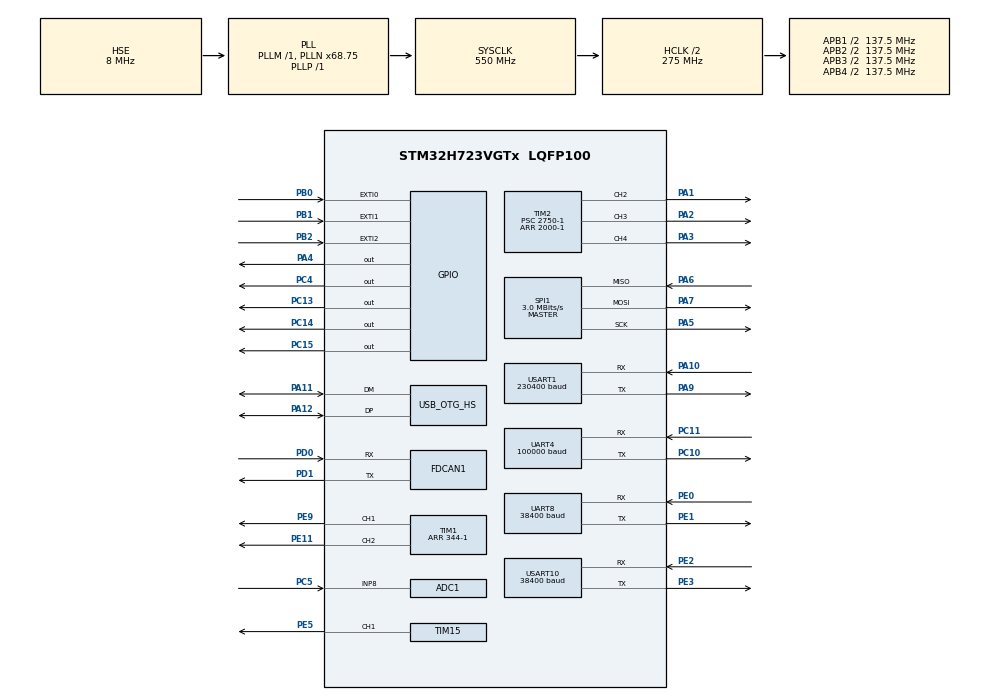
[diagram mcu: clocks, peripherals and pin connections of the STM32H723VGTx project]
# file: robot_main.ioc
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ADC1.Channel-1\#ChannelRegularConversion=ADC_CHANNEL_8
ADC1.ClockPrescaler=ADC_CLOCK_ASYNC_DIV8
ADC1.NbrOfConversion=1
ADC1.NbrOfConversionFlag=1
ADC1.OffsetNumber-1\#ChannelRegularConversion=ADC_OFFSET_NONE
ADC1.OffsetSignedSaturation-1\#ChannelRegularConversion=DISABLE
ADC1.Rank-1\#ChannelRegularConversion=1
ADC1.SamplingTime-1\#ChannelRegularConversion=ADC_SAMPLETIME_1CYCLE_5
ADC1.master=1
Dma.Request0=UART4_RX
Dma.Request1=USART1_RX
Dma.Request2=TIM1_CH1
Dma.Request3=TIM1_CH2
Dma.TIM1_CH1.2.Direction=DMA_MEMORY_TO_PERIPH
Dma.TIM1_CH1.2.EventEnable=DISABLE
Dma.TIM1_CH1.2.FIFOMode=DMA_FIFOMODE_DISABLE
Dma.TIM1_CH1.2.Instance=DMA1_Stream1
Dma.TIM1_CH1.2.MemDataAlignment=DMA_MDATAALIGN_HALFWORD
Dma.TIM1_CH1.2.MemInc=DMA_MINC_ENABLE
Dma.TIM1_CH1.2.Mode=DMA_NORMAL
Dma.TIM1_CH1.2.PeriphDataAlignment=DMA_PDATAALIGN_HALFWORD
Dma.TIM1_CH1.2.PeriphInc=DMA_PINC_DISABLE
Dma.TIM1_CH1.2.Polarity=HAL_DMAMUX_REQ_GEN_RISING
Dma.TIM1_CH1.2.Priority=DMA_PRIORITY_LOW
Dma.TIM1_CH1.2.RequestNumber=1
Dma.TIM1_CH1.2.SignalID=NONE
Dma.TIM1_CH1.2.SyncEnable=DISABLE
Dma.TIM1_CH1.2.SyncPolarity=HAL_DMAMUX_SYNC_NO_EVENT
Dma.TIM1_CH1.2.SyncRequestNumber=1
Dma.TIM1_CH1.2.SyncSignalID=NONE
Dma.TIM1_CH2.3.Direction=DMA_MEMORY_TO_PERIPH
Dma.TIM1_CH2.3.EventEnable=DISABLE
Dma.TIM1_CH2.3.FIFOMode=DMA_FIFOMODE_DISABLE
Dma.TIM1_CH2.3.Instance=DMA1_Stream2
Dma.TIM1_CH2.3.MemDataAlignment=DMA_MDATAALIGN_HALFWORD
Dma.TIM1_CH2.3.MemInc=DMA_MINC_ENABLE
Dma.TIM1_CH2.3.Mode=DMA_NORMAL
Dma.TIM1_CH2.3.PeriphDataAlignment=DMA_PDATAALIGN_HALFWORD
Dma.TIM1_CH2.3.PeriphInc=DMA_PINC_DISABLE
Dma.TIM1_CH2.3.Polarity=HAL_DMAMUX_REQ_GEN_RISING
Dma.TIM1_CH2.3.Priority=DMA_PRIORITY_LOW
Dma.TIM1_CH2.3.RequestNumber=1
Dma.TIM1_CH2.3.SignalID=NONE
Dma.TIM1_CH2.3.SyncEnable=DISABLE
Dma.TIM1_CH2.3.SyncPolarity=HAL_DMAMUX_SYNC_NO_EVENT
Dma.TIM1_CH2.3.SyncRequestNumber=1
Dma.TIM1_CH2.3.SyncSignalID=NONE
Dma.UART4_RX.0.Direction=DMA_PERIPH_TO_MEMORY
Dma.UART4_RX.0.EventEnable=DISABLE
Dma.UART4_RX.0.FIFOMode=DMA_FIFOMODE_DISABLE
Dma.UART4_RX.0.Instance=DMA1_Stream0
Dma.UART4_RX.0.MemDataAlignment=DMA_MDATAALIGN_BYTE
Dma.UART4_RX.0.MemInc=DMA_MINC_ENABLE
Dma.UART4_RX.0.Mode=DMA_NORMAL
Dma.UART4_RX.0.PeriphDataAlignment=DMA_PDATAALIGN_BYTE
Dma.UART4_RX.0.PeriphInc=DMA_PINC_DISABLE
Dma.UART4_RX.0.Polarity=HAL_DMAMUX_REQ_GEN_RISING
Dma.UART4_RX.0.Priority=DMA_PRIORITY_VERY_HIGH
Dma.UART4_RX.0.RequestNumber=1
Dma.UART4_RX.0.SignalID=NONE
Dma.UART4_RX.0.SyncEnable=DISABLE
Dma.UART4_RX.0.SyncPolarity=HAL_DMAMUX_SYNC_NO_EVENT
Dma.UART4_RX.0.SyncRequestNumber=1
Dma.UART4_RX.0.SyncSignalID=NONE
Dma.USART1_RX.1.Direction=DMA_PERIPH_TO_MEMORY
Dma.USART1_RX.1.EventEnable=DISABLE
Dma.USART1_RX.1.FIFOMode=DMA_FIFOMODE_DISABLE
Dma.USART1_RX.1.Instance=DMA2_Stream0
Dma.USART1_RX.1.MemDataAlignment=DMA_MDATAALIGN_BYTE
Dma.USART1_RX.1.MemInc=DMA_MINC_ENABLE
Dma.USART1_RX.1.Mode=DMA_NORMAL
Dma.USART1_RX.1.PeriphDataAlignment=DMA_PDATAALIGN_BYTE
Dma.USART1_RX.1.PeriphInc=DMA_PINC_DISABLE
Dma.USART1_RX.1.Polarity=HAL_DMAMUX_REQ_GEN_RISING
Dma.USART1_RX.1.Priority=DMA_PRIORITY_LOW
Dma.USART1_RX.1.RequestNumber=1
Dma.USART1_RX.1.SignalID=NONE
Dma.USART1_RX.1.SyncEnable=DISABLE
Dma.USART1_RX.1.SyncPolarity=HAL_DMAMUX_SYNC_NO_EVENT
Dma.USART1_RX.1.SyncRequestNumber=1
Dma.USART1_RX.1.SyncSignalID=NONE
FDCAN1.CalculateBaudRateNominal=999999
FDCAN1.CalculateTimeBitNominal=1000
FDCAN1.CalculateTimeQuantumNominal=9.090909090909092
FDCAN1.NominalPrescaler=1
FDCAN1.NominalTimeSeg1=68
FDCAN1.NominalTimeSeg2=41
FDCAN1.RxFifo0ElmtsNbr=32
FDCAN1.TxFifoQueueElmtsNbr=16
FREERTOS.Tasks01=defaultTask,24,256,StartDefaultTask,Default,NULL,Dynamic,NULL,NULL;myTask_imu,8,256,StartTask_imu,Default,NULL,Dynamic,NULL,NULL;myTask_Chassis,8,256,StartTask_Chassis,Default,NULL,Dynamic,NULL,NULL;myTask_LED,8,256,StartTask_LED,Default,NULL,Dynamic,NULL,NULL;myTask_observe,8,256,StartTask_observe,Default,NULL,Dynamic,NULL,NULL;myTask_vmc,8,256,StartTask_vmc,Default,NULL,Dynamic,NULL,NULL;myTask_adc,8,128,StartTask_adc,Default,NULL,Dynamic,NULL,NULL;myTask_motorErr,8,128,StartTask_motorError,Default,NULL,Dynamic,NULL,NULL;myTask_usb,8,128,StartTask_usb,Default,NULL,Dynamic,NULL,NULL
Mcu.Family=STM32H7
Mcu.Name=STM32H723VGTx
Mcu.Package=LQFP100
NVIC.DMA1_Stream0_IRQn=true\:5\:0\:false\:false\:true\:true\:false\:true\:true
NVIC.DMA1_Stream1_IRQn=true\:5\:0\:false\:false\:true\:true\:false\:true\:true
NVIC.DMA1_Stream2_IRQn=true\:5\:0\:false\:false\:true\:true\:false\:true\:true
NVIC.DMA2_Stream0_IRQn=true\:5\:0\:false\:false\:true\:true\:false\:true\:true
NVIC.EXTI0_IRQn=true\:5\:0\:false\:false\:true\:true\:true\:true\:true
NVIC.EXTI1_IRQn=true\:5\:0\:false\:false\:true\:true\:true\:true\:true
NVIC.EXTI2_IRQn=true\:5\:0\:false\:false\:true\:true\:true\:true\:true
NVIC.FDCAN1_IT0_IRQn=true\:5\:0\:false\:false\:true\:true\:true\:true\:true
NVIC.FDCAN1_IT1_IRQn=true\:5\:0\:false\:false\:true\:true\:true\:true\:true
NVIC.OTG_HS_IRQn=true\:5\:0\:false\:false\:true\:true\:false\:true\:true
NVIC.PriorityGroup=NVIC_PRIORITYGROUP_4
NVIC.TIM6_DAC_IRQn=true\:15\:0\:false\:false\:true\:false\:false\:true\:true
NVIC.TimeBase=TIM6_DAC_IRQn
NVIC.TimeBaseIP=TIM6
NVIC.UART4_IRQn=true\:5\:0\:false\:false\:true\:true\:true\:true\:true
NVIC.UART8_IRQn=true\:5\:0\:false\:false\:true\:true\:true\:true\:true
NVIC.USART10_IRQn=true\:5\:0\:false\:false\:true\:true\:true\:true\:true
NVIC.USART1_IRQn=true\:5\:0\:false\:false\:true\:true\:true\:true\:true
PA1.Signal=S_TIM2_CH2
PA10.Mode=Asynchronous
PA10.Signal=USART1_RX
PA11.Mode=Device_Only_FS
PA11.Signal=USB_OTG_HS_DM
PA12.Mode=Device_Only_FS
PA12.Signal=USB_OTG_HS_DP
PA13(JTMS/SWDIO).Mode=Serial_Wire
PA13(JTMS/SWDIO).Signal=DEBUG_JTMS-SWDIO
PA14(JTCK/SWCLK).Mode=Serial_Wire
PA14(JTCK/SWCLK).Signal=DEBUG_JTCK-SWCLK
PA2.Signal=S_TIM2_CH3
PA3.Signal=S_TIM2_CH4
PA4.Signal=GPIO_Output
PA5.Mode=Full_Duplex_Master
PA5.Signal=SPI1_SCK
PA6.Mode=Full_Duplex_Master
PA6.Signal=SPI1_MISO
PA7.Mode=Full_Duplex_Master
PA7.Signal=SPI1_MOSI
PA9.Mode=Asynchronous
PA9.Signal=USART1_TX
PB0.GPIO_ModeDefaultEXTI=GPIO_MODE_IT_FALLING
PB0.GPIO_PuPd=GPIO_PULLUP
PB0.Signal=GPXTI0
PB1.GPIO_ModeDefaultEXTI=GPIO_MODE_IT_FALLING
PB1.GPIO_PuPd=GPIO_PULLUP
PB1.Signal=GPXTI1
PB2.Signal=GPXTI2
PC10.Mode=Asynchronous
PC10.Signal=UART4_TX
PC11.Mode=Asynchronous
PC11.Signal=UART4_RX
PC13.Signal=GPIO_Output
PC14-OSC32_IN.Signal=GPIO_Output
PC15-OSC32_OUT.Signal=GPIO_Output
PC4.Signal=GPIO_Output
PC5.Signal=ADCx_INP8
PD0.Mode=FDCAN_Activate
PD0.Signal=FDCAN1_RX
PD1.Mode=FDCAN_Activate
PD1.Signal=FDCAN1_TX
PE0.Mode=Asynchronous
PE0.Signal=UART8_RX
PE1.Mode=Asynchronous
PE1.Signal=UART8_TX
PE11.Signal=S_TIM1_CH2
PE2.Mode=Asynchronous
PE2.Signal=USART10_RX
PE3.Mode=Asynchronous
PE3.Signal=USART10_TX
PE5.Signal=S_TIM15_CH1
PE9.Signal=S_TIM1_CH1
PH0-OSC_IN.Mode=HSE-External-Oscillator
PH0-OSC_IN.Signal=RCC_OSC_IN
PH1-OSC_OUT.Mode=HSE-External-Oscillator
PH1-OSC_OUT.Signal=RCC_OSC_OUT
ProjectManager.HeapSize=0x19000
ProjectManager.StackSize=0x19000
ProjectManager.TargetToolchain=MDK-ARM V5.32
RCC.ADCFreq_Value=96000000
RCC.APB1Freq_Value=137500000
RCC.APB2Freq_Value=137500000
RCC.APB3Freq_Value=137500000
RCC.APB4Freq_Value=137500000
RCC.CortexFreq_Value=550000000
RCC.D1PPRE=RCC_APB3_DIV2
RCC.D2PPRE1=RCC_APB1_DIV2
RCC.D2PPRE2=RCC_APB2_DIV2
RCC.D3PPRE=RCC_APB4_DIV2
RCC.DIVM1=1
RCC.DIVM2=1
RCC.DIVM3=1
RCC.DIVN1=68
RCC.DIVN2=24
RCC.DIVN3=24
RCC.DIVP1=1
RCC.DIVP3=1
RCC.DIVQ1=5
RCC.HCLKFreq_Value=275000000
RCC.HPRE=RCC_HCLK_DIV2
RCC.HSE_VALUE=8000000
RCC.PLL3FRACN=0
RCC.PLLFRACN=6144
RCC.PLLSourceVirtual=RCC_PLLSOURCE_HSE
RCC.SPI123CLockSelection=RCC_SPI123CLKSOURCE_PLL3
RCC.SYSCLKFreq_VALUE=550000000
RCC.SYSCLKSource=RCC_SYSCLKSOURCE_PLLCLK
RCC.USBCLockSelection=RCC_USBCLKSOURCE_HSI48
RCC.USBFreq_Value=48000000
SH.ADCx_INP8.0=ADC1_INP8,IN8-Single-Ended
SH.S_TIM15_CH1.0=TIM15_CH1,PWM Generation1 CH1
SH.S_TIM1_CH1.0=TIM1_CH1,PWM Generation1 CH1
SH.S_TIM1_CH2.0=TIM1_CH2,PWM Generation2 CH2
SH.S_TIM2_CH2.0=TIM2_CH2,PWM Generation2 CH2
SH.S_TIM2_CH3.0=TIM2_CH3,PWM Generation3 CH3
SH.S_TIM2_CH4.0=TIM2_CH4,PWM Generation4 CH4
SPI1.BaudRatePrescaler=SPI_BAUDRATEPRESCALER_64
SPI1.CLKPhase=SPI_PHASE_2EDGE
SPI1.CLKPolarity=SPI_POLARITY_HIGH
SPI1.CalculateBaudRate=3.0 MBits/s
SPI1.DataSize=SPI_DATASIZE_8BIT
SPI1.Direction=SPI_DIRECTION_2LINES
SPI1.Mode=SPI_MODE_MASTER
SPI1.VirtualType=VM_MASTER
TIM1.Channel-PWM\ Generation1\ CH1=TIM_CHANNEL_1
TIM1.Channel-PWM\ Generation2\ CH2=TIM_CHANNEL_2
TIM1.Period=344-1
TIM15.Channel-PWM\ Generation1\ CH1=TIM_CHANNEL_1
TIM15.Period=1000
TIM15.Prescaler=135-1
TIM2.Channel-PWM\ Generation2\ CH2=TIM_CHANNEL_2
TIM2.Channel-PWM\ Generation3\ CH3=TIM_CHANNEL_3
TIM2.Channel-PWM\ Generation4\ CH4=TIM_CHANNEL_4
TIM2.Period=2000-1
TIM2.Prescaler=2750-1
TIM8.AutoReloadPreload=TIM_AUTORELOAD_PRELOAD_ENABLE
TIM8.Period=1000-1
TIM8.Prescaler=275-1
UART4.BaudRate=100000
UART4.FIFOMode=FIFOMODE_ENABLE
UART4.Mode=MODE_RX
UART4.Parity=PARITY_EVEN
UART4.RXFIFOThreshold=RXFIFO_THRESHOLD_FULL
UART4.RxPinLevelInvertParam=UART_ADVFEATURE_RXINV_ENABLE
UART4.WordLength=WORDLENGTH_9B
UART8.BaudRate=38400
USART1.BaudRate=230400
USART1.VirtualMode-Asynchronous=VM_ASYNC
USART10.BaudRate=38400
USART10.VirtualMode=VM_ASYNC
USB_DEVICE.CLASS_NAME_HS=CDC
USB_DEVICE.VirtualMode=Cdc
USB_DEVICE.VirtualModeHS=Cdc_HS
USB_OTG_HS.VirtualMode-Device_Only_FS=Device_Only_FS
VP_FREERTOS_VS_CMSIS_V2.Mode=CMSIS_V2
VP_SYS_VS_tim6.Mode=TIM6
VP_TIM15_VS_ClockSourceINT.Mode=Internal
VP_TIM1_VS_ClockSourceINT.Mode=Internal
VP_TIM2_VS_ClockSourceINT.Mode=Internal
VP_TIM8_VS_ClockSourceINT.Mode=Internal
VP_USB_DEVICE_VS_USB_DEVICE_CDC_HS.Mode=CDC_HS
board=custom

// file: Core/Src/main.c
/* USER CODE BEGIN Header */
/**
  ******************************************************************************
  * @file           : main.c
  * @brief          : Main program body
  ******************************************************************************
  * @attention
  *
  * Copyright (c) 2024 STMicroelectronics.
  * All rights reserved.
  *
  * This software is licensed under terms that can be found in the LICENSE file
  * in the root directory of this software component.
  * If no LICENSE file comes with this software, it is provided AS-IS.
  *
  ******************************************************************************
  */
/* USER CODE END Header */
#include "main.h"
#include "cmsis_os.h"
#include "adc.h"
#include "dma.h"
#include "fdcan.h"
#include "spi.h"
#include "tim.h"
#include "usart.h"
#include "usb_device.h"
#include "gpio.h"

/* USER CODE BEGIN Includes */
#include "BMI088driver.h"
#include "kalman_filter.h"
#include "mahony_filter.h"
#include "bsp_dwt.h"
#include "BMI088Middleware.h"
#include "chassis_task.h"
/* USER CODE END Includes */

/* USER CODE BEGIN PM */
uint8_t uart1_rx_buf[100];
uint8_t uart1_rx_ok_flag;
uint8_t uart1_rx_len;
uint8_t rx_buffer[100];
/* USER CODE END PM */

void SystemClock_Config(void);
void MX_FREERTOS_Init(void);

int main(void)
{

  /* MCU Configuration--------------------------------------------------------*/

  /* Reset of all peripherals, Initializes the Flash interface and the Systick. */
  HAL_Init();

  /* Configure the system clock */
  SystemClock_Config();

  /* Initialize all configured peripherals */
  MX_GPIO_Init();
  MX_DMA_Init();
  MX_ADC1_Init();
  MX_TIM8_Init();
  MX_UART4_Init();
  MX_USART1_UART_Init();
  MX_TIM15_Init();
  MX_FDCAN1_Init();
  MX_TIM1_Init();
  MX_TIM2_Init();
  MX_UART8_Init();
  MX_USART10_UART_Init();
  MX_SPI1_Init();
  /* USER CODE BEGIN 2 */
	HAL_ADCEx_Calibration_Start(&hadc1, ADC_CALIB_OFFSET_LINEARITY, ADC_SINGLE_ENDED);
  HAL_TIM_PWM_Start(&htim15,TIM_CHANNEL_1);
  __HAL_UART_ENABLE_IT(&huart1, UART_IT_IDLE);
  HAL_UART_Receive_DMA(&huart1, uart1_rx_buf, 100);
  __HAL_UART_ENABLE_IT(&huart4, UART_IT_IDLE);
  HAL_UART_Receive_DMA(&huart4, rx_buffer, 100);

  DWT_Init(550);
  while (BMI088_init(&hspi1, 0) != BMI088_NO_ERROR)
	{
	  ;
	}

  /* USER CODE END 2 */

  /* Init scheduler */
  osKernelInitialize();

  /* Call init function for freertos objects (in cmsis_os2.c) */
  MX_FREERTOS_Init();

  /* Start scheduler */
  osKernelStart();

  /* We should never get here as control is now taken by the scheduler */

  /* Infinite loop */
  while (1)
  {

  }
}

void SystemClock_Config(void)
{
  RCC_OscInitTypeDef RCC_OscInitStruct = {0};
  RCC_ClkInitTypeDef RCC_ClkInitStruct = {0};

  /** Supply configuration update enable
  */
  HAL_PWREx_ConfigSupply(PWR_LDO_SUPPLY);

  /** Configure the main internal regulator output voltage
  */
  __HAL_PWR_VOLTAGESCALING_CONFIG(PWR_REGULATOR_VOLTAGE_SCALE0);

  while(!__HAL_PWR_GET_FLAG(PWR_FLAG_VOSRDY)) {}

  /** Initializes the RCC Oscillators according to the specified parameters
  * in the RCC_OscInitTypeDef structure.
  */
  RCC_OscInitStruct.OscillatorType = RCC_OSCILLATORTYPE_HSI48|RCC_OSCILLATORTYPE_HSE;
  RCC_OscInitStruct.HSEState = RCC_HSE_ON;
  RCC_OscInitStruct.HSI48State = RCC_HSI48_ON;
  RCC_OscInitStruct.PLL.PLLState = RCC_PLL_ON;
  RCC_OscInitStruct.PLL.PLLSource = RCC_PLLSOURCE_HSE;
  RCC_OscInitStruct.PLL.PLLM = 1;
  RCC_OscInitStruct.PLL.PLLN = 68;
  RCC_OscInitStruct.PLL.PLLP = 1;
  RCC_OscInitStruct.PLL.PLLQ = 5;
  RCC_OscInitStruct.PLL.PLLR = 2;
  RCC_OscInitStruct.PLL.PLLRGE = RCC_PLL1VCIRANGE_3;
  RCC_OscInitStruct.PLL.PLLVCOSEL = RCC_PLL1VCOWIDE;
  RCC_OscInitStruct.PLL.PLLFRACN = 6144;
  if (HAL_RCC_OscConfig(&RCC_OscInitStruct) != HAL_OK)
  {
    Error_Handler();
  }

  /** Initializes the CPU, AHB and APB buses clocks
  */
  RCC_ClkInitStruct.ClockType = RCC_CLOCKTYPE_HCLK|RCC_CLOCKTYPE_SYSCLK
                              |RCC_CLOCKTYPE_PCLK1|RCC_CLOCKTYPE_PCLK2
                              |RCC_CLOCKTYPE_D3PCLK1|RCC_CLOCKTYPE_D1PCLK1;
  RCC_ClkInitStruct.SYSCLKSource = RCC_SYSCLKSOURCE_PLLCLK;
  RCC_ClkInitStruct.SYSCLKDivider = RCC_SYSCLK_DIV1;
  RCC_ClkInitStruct.AHBCLKDivider = RCC_HCLK_DIV2;
  RCC_ClkInitStruct.APB3CLKDivider = RCC_APB3_DIV2;
  RCC_ClkInitStruct.APB1CLKDivider = RCC_APB1_DIV2;
  RCC_ClkInitStruct.APB2CLKDivider = RCC_APB2_DIV2;
  RCC_ClkInitStruct.APB4CLKDivider = RCC_APB4_DIV2;

  if (HAL_RCC_ClockConfig(&RCC_ClkInitStruct, FLASH_LATENCY_3) != HAL_OK)
  {
    Error_Handler();
  }
}

void HAL_TIM_PeriodElapsedCallback(TIM_HandleTypeDef *htim)
{
  if (htim->Instance == TIM6) {
    HAL_IncTick();
  }
}

void Error_Handler(void)
{
  __disable_irq();
  while (1)
  {
  }
}

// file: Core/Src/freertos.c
/* USER CODE BEGIN Header */
/**
 ******************************************************************************
 * File Name          : freertos.c
 * Description        : Code for freertos applications
 ******************************************************************************
 * @attention
 *
 * Copyright (c) 2024 STMicroelectronics.
 * All rights reserved.
 *
 * This software is licensed under terms that can be found in the LICENSE file
 * in the root directory of this software component.
 * If no LICENSE file comes with this software, it is provided AS-IS.
 *
 ******************************************************************************
 */
/* USER CODE END Header */

#include "FreeRTOS.h"
#include "task.h"
#include "main.h"
#include "cmsis_os.h"

/* USER CODE BEGIN Includes */
#include "ins_task.h"
#include "usbd_cdc_if.h"
#include "string.h"
#include "chassis_task.h"
#include "bsp_ext.h"
#include "bsp_can.h"
#include "observe_task.h"
#include "vmc.h"
#include "DEFS_Parser.h"
#include "usart.h"
#include "vmc.h"
#include "adc.h"
#include "spi.h"
/* USER CODE END Includes */

/* USER CODE BEGIN PD */
extern pid_type_def TURN_PID;
extern pid_type_def Roll_Contorl_PID;
extern float vmc_pid_param[3];
extern float K_Matrix[4];
extern float yaw_init;
uint8_t usb_tx_buf[512];
uint8_t usb_rx_buf[512];
uint8_t usb_rx_flag;
float vbus;
/* USER CODE END PD */

/* Definitions for defaultTask */
osThreadId_t defaultTaskHandle;
const osThreadAttr_t defaultTask_attributes = {
  .name = "defaultTask",
  .stack_size = 256 * 4,
  .priority = (osPriority_t) osPriorityNormal,
};
/* Definitions for myTask_imu */
osThreadId_t myTask_imuHandle;
const osThreadAttr_t myTask_imu_attributes = {
  .name = "myTask_imu",
  .stack_size = 256 * 4,
  .priority = (osPriority_t) osPriorityLow,
};
/* Definitions for myTask_Chassis */
osThreadId_t myTask_ChassisHandle;
const osThreadAttr_t myTask_Chassis_attributes = {
  .name = "myTask_Chassis",
  .stack_size = 256 * 4,
  .priority = (osPriority_t) osPriorityLow,
};
/* Definitions for myTask_LED */
osThreadId_t myTask_LEDHandle;
const osThreadAttr_t myTask_LED_attributes = {
  .name = "myTask_LED",
  .stack_size = 256 * 4,
  .priority = (osPriority_t) osPriorityLow,
};
/* Definitions for myTask_observe */
osThreadId_t myTask_observeHandle;
const osThreadAttr_t myTask_observe_attributes = {
  .name = "myTask_observe",
  .stack_size = 256 * 4,
  .priority = (osPriority_t) osPriorityLow,
};
/* Definitions for myTask_vmc */
osThreadId_t myTask_vmcHandle;
const osThreadAttr_t myTask_vmc_attributes = {
  .name = "myTask_vmc",
  .stack_size = 256 * 4,
  .priority = (osPriority_t) osPriorityLow,
};
/* Definitions for myTask_adc */
osThreadId_t myTask_adcHandle;
const osThreadAttr_t myTask_adc_attributes = {
  .name = "myTask_adc",
  .stack_size = 128 * 4,
  .priority = (osPriority_t) osPriorityLow,
};
/* Definitions for myTask_motorErr */
osThreadId_t myTask_motorErrHandle;
const osThreadAttr_t myTask_motorErr_attributes = {
  .name = "myTask_motorErr",
  .stack_size = 128 * 4,
  .priority = (osPriority_t) osPriorityLow,
};
/* Definitions for myTask_usb */
osThreadId_t myTask_usbHandle;
const osThreadAttr_t myTask_usb_attributes = {
  .name = "myTask_usb",
  .stack_size = 128 * 4,
  .priority = (osPriority_t) osPriorityLow,
};

void StartDefaultTask(void *argument);
void StartTask_imu(void *argument);
void StartTask_Chassis(void *argument);
void StartTask_LED(void *argument);
void StartTask_observe(void *argument);
void StartTask_vmc(void *argument);
void StartTask_adc(void *argument);
void StartTask_motorError(void *argument);
void StartTask_usb(void *argument);

extern void MX_USB_DEVICE_Init(void);
void MX_FREERTOS_Init(void); /* (MISRA C 2004 rule 8.1) */

void MX_FREERTOS_Init(void) {
  /* USER CODE BEGIN Init */
  FDCAN1_Config();
  /* USER CODE END Init */

  /* Create the thread(s) */
  /* creation of defaultTask */
  defaultTaskHandle = osThreadNew(StartDefaultTask, NULL, &defaultTask_attributes);

  /* creation of myTask_imu */
  myTask_imuHandle = osThreadNew(StartTask_imu, NULL, &myTask_imu_attributes);

  /* creation of myTask_Chassis */
  myTask_ChassisHandle = osThreadNew(StartTask_Chassis, NULL, &myTask_Chassis_attributes);

  /* creation of myTask_LED */
  myTask_LEDHandle = osThreadNew(StartTask_LED, NULL, &myTask_LED_attributes);

  /* creation of myTask_observe */
  myTask_observeHandle = osThreadNew(StartTask_observe, NULL, &myTask_observe_attributes);

  /* creation of myTask_vmc */
  myTask_vmcHandle = osThreadNew(StartTask_vmc, NULL, &myTask_vmc_attributes);

  /* creation of myTask_adc */
  myTask_adcHandle = osThreadNew(StartTask_adc, NULL, &myTask_adc_attributes);

  /* creation of myTask_motorErr */
  myTask_motorErrHandle = osThreadNew(StartTask_motorError, NULL, &myTask_motorErr_attributes);

  /* creation of myTask_usb */
  myTask_usbHandle = osThreadNew(StartTask_usb, NULL, &myTask_usb_attributes);

}

void StartDefaultTask(void *argument)
{
  /* init code for USB_DEVICE */
  MX_USB_DEVICE_Init();
  /* USER CODE BEGIN StartDefaultTask */
  INIT_PARSER(parser, NULL);
  parser.Init(&parser, '$', 0);
  /* Infinite loop */
  for (;;)
  {
    if (uart1_rx_ok_flag)
    {
      uart1_rx_ok_flag = 0;
      // $SET /test/p 0.009A*/\r\n
      printf("\r\n\r\n-- [DEFS] new frame --\r\n");
      for (int j = 0; j < uart1_rx_len; j++)
      {
        if (parser.PushChar2RawBuf(&parser, uart1_rx_buf[j]))
        {
          if (parser.Verify(&parser))
          {
            if (parser.Parse(&parser))
            {
              parser.parsed_value = atof(parser.payload.value);
              MatchThenSet_FLOAT(&parser, "/pitch/0", &chassis.pitch.tar, NULL);
              MatchThenSet_FLOAT(&parser, "/K_Matrix/0", &K_Matrix[0], NULL);
							MatchThenSet_FLOAT(&parser, "/K_Matrix/1", &K_Matrix[1], NULL);
              MatchThenSet_FLOAT(&parser, "/K_Matrix/2", &K_Matrix[2], NULL);
							MatchThenSet_FLOAT(&parser, "/K_Matrix/3", &K_Matrix[3], NULL);
							MatchThenSet_FLOAT(&parser, "/TURN_PID/p", &TURN_PID.Kp, NULL);
							MatchThenSet_FLOAT(&parser, "/TURN_PID/d", &TURN_PID.Kd, NULL);
							MatchThenSet_FLOAT(&parser, "/Roll_PID/p", &Roll_Contorl_PID.Kp, NULL);
							MatchThenSet_FLOAT(&parser, "/Roll_PID/i", &Roll_Contorl_PID.Ki, NULL);
							MatchThenSet_FLOAT(&parser, "/Roll_PID/d", &Roll_Contorl_PID.Kd, NULL);
              MatchThenSet_FLOAT(&parser, "/vmc_pid/p", &vmc_pid_param[0], NULL);
              MatchThenSet_FLOAT(&parser, "/vmc_pid/i", &vmc_pid_param[1], NULL);
              MatchThenSet_FLOAT(&parser, "/vmc_pid/d", &vmc_pid_param[2], NULL);
            }
          }
          parser.Reset(&parser);
        }
      }
      HAL_UART_Receive_DMA(&huart1, uart1_rx_buf, 100);
    }

    printf("%.1f\n%.3f,%.3f,%.3f,%.3f,%.3f,%.3f\n",vbus,robot[0].d_virtual_leg_length,robot[1].d_virtual_leg_length,robot[0].virtual_leg_length_back,robot[1].virtual_leg_length_back,robot[0].virtual_support_force_back,robot[1].virtual_support_force_back);
//		printf("%.3f,%.3f,%.3f,%.3f\n",K_Matrix[0],K_Matrix[1],K_Matrix[2],K_Matrix[3]);
//		printf("%.2f,%.2f\n",INS.Pitch,robot[0].virtual_leg_length_back);
//		printf("%.2f,%.2f,%.2f,%.2f,%.2f\n",vbus,INS.Roll,VMC_PID[0].out,VMC_PID[1].out,Roll_Contorl_PID.out);
//		printf("%.3f,%.3f,%.5f,%.5f,%.3f,%.3f\n",chassis.pitch.err,chassis.d_pitch.err,chassis.x_filter.err,chassis.v_filter.err,robot[0].virtual_support_force_back,robot[1].virtual_support_force_back);
//	  printf("%.3f,%.3f,%.3f,%.3f,%.3f,%.3f\n",TURN_PID.out,yaw_init,INS.YawTotalAngle,INS.Gyro[2],TURN_PID.Kp,TURN_PID.Kd);
//		printf("%.3f,%.3f",chassis.Jointmotor[0].iq_set,INS.Roll);
//		printf("%.3f,%.3f,%.3f,%.3f\n",robot[0].virtual_support_force_back,robot[1].virtual_support_force_back,robot[0].JointForce_Virtual2Real_K,robot[1].JointForce_Virtual2Real_K);
    osDelay(100);
  }
  /* USER CODE END StartDefaultTask */
}

void StartTask_imu(void *argument)
{
  /* USER CODE BEGIN StartTask_imu */

  /* Infinite loop */
  for (;;)
  {
    INS_task();
  }
  /* USER CODE END StartTask_imu */
}

void StartTask_Chassis(void *argument)
{
  /* USER CODE BEGIN StartTask_Chassis */
  /* Infinite loop */
  for(;;)
  {
    Chassis_task();
  }
  /* USER CODE END StartTask_Chassis */
}

void StartTask_LED(void *argument)
{
  /* USER CODE BEGIN StartTask_LED */
  Init_Servo();
  Init_Ws2812();
	osDelay(500);
  /* Infinite loop */
  for(;;)
  {
    Servo_task();
    Ws2812_task();
		HAL_GPIO_TogglePin(GPIOC, GPIO_PIN_13);
    osDelay(100);
  }
  /* USER CODE END StartTask_LED */
}

void StartTask_observe(void *argument)
{
  /* USER CODE BEGIN StartTask_observe */
  /* Infinite loop */
  for(;;)
  {
    Observe_task();
  }
  /* USER CODE END StartTask_observe */
}

void StartTask_vmc(void *argument)
{
  /* USER CODE BEGIN StartTask_vmc */
  /* Infinite loop */
  for(;;)
  {
    vmc_task();
  }
  /* USER CODE END StartTask_vmc */
}

void StartTask_adc(void *argument)
{
  /* USER CODE BEGIN StartTask_adc */
	uint32_t Vbus_adc;
  /* Infinite loop */
  for(;;)
  {
		HAL_ADC_Start(&hadc1);
		HAL_ADC_PollForConversion(&hadc1, 8);
		Vbus_adc = HAL_ADC_GetValue(&hadc1);
		HAL_ADC_Stop(&hadc1);
		vbus=Vbus_adc*3.3/65536*11;
    osDelay(500);
  }
  /* USER CODE END StartTask_adc */
}

void StartTask_motorError(void *argument)
{
  /* USER CODE BEGIN StartTask_motorError */
  /* Infinite loop */
  for(;;)
  {
    if(chassis.Jointmotor[0].error_status == 1)
    {
      printf("Jointmotor 0 error code: %x\r\n", chassis.Jointmotor[0].error_code);
      osDelay(500);
    }
    if(chassis.Jointmotor[1].error_status == 1)
    {
      printf("Jointmotor 1 error code: %x\r\n", chassis.Jointmotor[1].error_code);
      osDelay(500);
    }
    if(chassis.Wheelmotor[0].error_status == 1)
    {
      printf("Wheelmotor 0 error code: %x\r\n", chassis.Wheelmotor[0].error_code);
      osDelay(500);
    }
    if(chassis.Wheelmotor[1].error_status == 1)
    {
      printf("Wheelmotor 1 error code: %x\r\n", chassis.Wheelmotor[1].error_code);
      osDelay(500);
    }
    osDelay(1);
  }
  /* USER CODE END StartTask_motorError */
}

void StartTask_usb(void *argument)
{
  /* USER CODE BEGIN StartTask_usb */
  /* Infinite loop */
  uint16_t len;
	char imu_check[10]={"imu set"};

  for(;;)
  {
    if(usb_rx_flag)
    {
      usb_rx_flag=0;
      if(usb_rx_buf[0]==7 && memcmp(imu_check,usb_rx_buf+1,7)==0)
      {
        vTaskSuspend(myTask_imuHandle);
        len=sprintf((char*)usb_tx_buf,"start imu check\n");
        CDC_Transmit_HS(usb_tx_buf,len);
        osDelay(100);
        while (BMI088_init(&hspi1, 1) != BMI088_NO_ERROR)
        {
          ;
        }
      len=sprintf((char*)usb_tx_buf,"BMI088_Offset-->>\nGyro:\n%.12f\n%.12f\n%.12f\nAccel:\n%.12f\n%.12f\n%.12f\nPlease save and reboot",BMI088.GyroOffset[0],BMI088.GyroOffset[1],BMI088.GyroOffset[2],BMI088.AccelOffset[0],BMI088.AccelOffset[1],BMI088.AccelOffset[2]);
      CDC_Transmit_HS(usb_tx_buf,len);
      }
    }
    else
    {
      len=sprintf((char*)usb_tx_buf,"INS: %.2f,%.2f,%.2f,%.2f,%.2f,%.2f\r\n",
                  INS.Accel[0],INS.Accel[1],INS.Accel[2],
                  INS.Gyro[0],INS.Gyro[1],INS.Gyro[2]);
      CDC_Transmit_HS(usb_tx_buf,len);
    }

    osDelay(500);
  }
  /* USER CODE END StartTask_usb */
}
